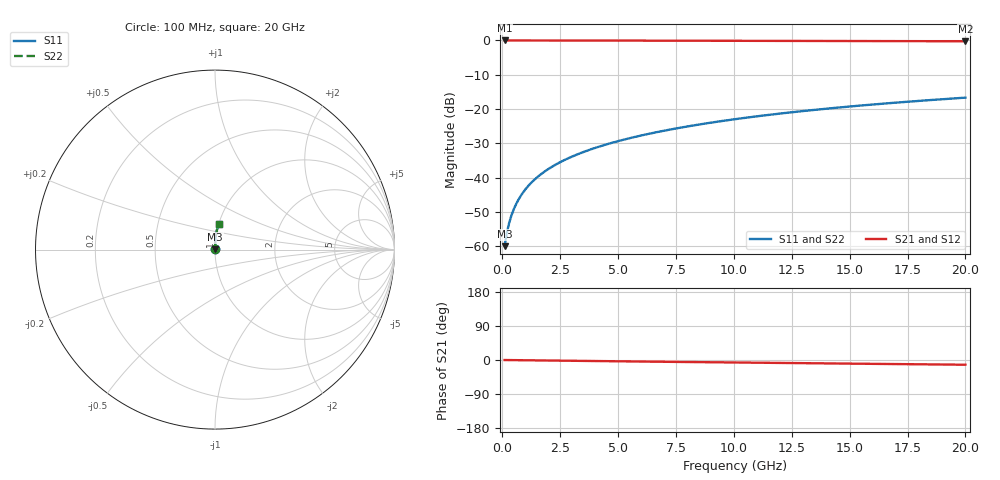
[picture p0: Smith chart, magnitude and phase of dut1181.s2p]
! Touchstone file exported from HFSS 2024.1.0
!  File:  C:/UserFiles/LocalFiles/RDL_TSV_Batchsim/temp_RDL_top_1181_1780049258.aedt
!  Generated:  06:09:37 PM May 29, 2026
!  Design:  RDL_top
!  Project:  temp_RDL_top_1181_1780049258
!  Setup:  Setup1
!  Solution:  Sweep
! Variables:
!  dtsv = 10.80580581um
!  hbump = 3um
!  htsv = 66.5um
!  ldown = 100um
!  lrdl = 145.11um
!  p = 40
!  p1 = 48.57um
!  rhole = 1um
!  t = 450um
!  tdown = 3.915915916um
!  trdl = 4.79um
!  wdown = 15.38538539um
!  wrdl = 19.14um
# GHz S MA R 50.000000
! Terminal data exported
! Port[1] = Box2_T1
! Port[2] = Box2_T2
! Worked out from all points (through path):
!   200 points, 100 MHz to 20 GHz, reference 50 ohm
!   highest |S21| = -0.01 dB at 100 MHz (marker M1); lowest = -0.2 dB at 20 GHz (marker M2)
!   group delay of S21, straight-line fit = 1.72 ps
!   lowest |S11| = -59.9 dB at 100 MHz (marker M3), VSWR 1.00, Z = 50.1 + j0.0716 ohm
!   |S11| at or under -10 dB: start of sweep to end of sweep
!   |S22| runs from -59.9 to -16.7 dB; largest |S21 - S12| = 5.2e-15
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0.1  0.001007 45.2  0.9993 -0.1  0.9993 -0.1  0.001007 45.2
! Gamma 0 0 0 0
! Port Impedance 50 0 50 0
0.2  0.001591 62.2  0.9993 -0.1  0.9993 -0.1  0.001591 62.2
0.3  0.002219 69.7  0.9992 -0.2  0.9992 -0.2  0.002219 69.7
0.4  0.002858 74.0  0.9992 -0.3  0.9992 -0.3  0.002858 74.0
0.5  0.003503 76.8  0.9991 -0.4  0.9991 -0.4  0.003503 76.8
0.6  0.004154 78.8  0.9991 -0.4  0.9991 -0.4  0.004154 78.8
0.8  0.005465 81.4  0.999 -0.6  0.999 -0.6  0.005465 81.4
1.1  0.007451 83.7  0.9989 -0.8  0.9989 -0.8  0.007451 83.7
1.5  0.01012 85.4  0.9987 -1.1  0.9987 -1.1  0.01012 85.4
1.8  0.01213 86.1  0.9985 -1.3  0.9985 -1.3  0.01213 86.1
2.1  0.01415 86.7  0.9983 -1.5  0.9983 -1.5  0.01415 86.7
2.7  0.01821 87.5  0.9977 -1.9  0.9977 -1.9  0.01821 87.5
3.5  0.02368 88.1  0.9969 -2.4  0.9969 -2.4  0.02367 88.1
4.2  0.02852 88.4  0.996 -2.9  0.996 -2.9  0.02852 88.4
5  0.03413 88.6  0.9949 -3.4  0.9949 -3.4  0.03413 88.6
5.9  0.04055 88.6  0.9937 -4.0  0.9937 -4.0  0.04055 88.6
6.8  0.04707 88.5  0.9923 -4.6  0.9923 -4.6  0.04707 88.5
8.4  0.05889 88.1  0.9899 -5.6  0.9899 -5.6  0.05889 88.1
10.1  0.07167 87.4  0.9874 -6.6  0.9874 -6.6  0.07167 87.4
13.4  0.09678 85.5  0.9825 -8.6  0.9825 -8.6  0.09678 85.5
16.7  0.1219 83.3  0.9776 -10.6  0.9776 -10.6  0.1219 83.3
20  0.1467 81.1  0.9727 -12.5  0.9727 -12.5  0.1467 81.1
